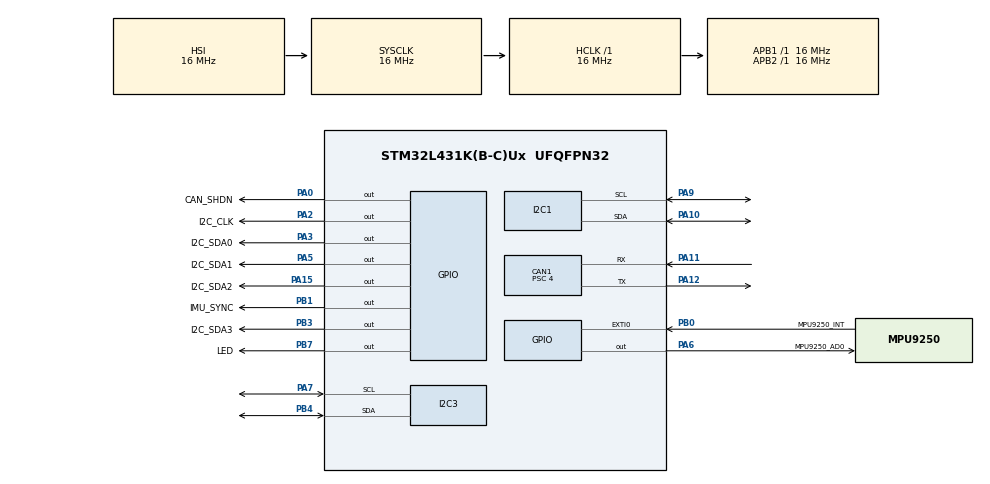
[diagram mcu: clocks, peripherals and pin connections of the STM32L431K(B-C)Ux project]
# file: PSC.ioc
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CAN1.ABOM=ENABLE
CAN1.AWUM=ENABLE
CAN1.BS1=CAN_BS1_2TQ
CAN1.CalculateTimeQuantum=250.0
CAN1.Prescaler=4
Dma.I2C1_RX.0.Direction=DMA_PERIPH_TO_MEMORY
Dma.I2C1_RX.0.Instance=DMA1_Channel7
Dma.I2C1_RX.0.MemDataAlignment=DMA_MDATAALIGN_BYTE
Dma.I2C1_RX.0.MemInc=DMA_MINC_ENABLE
Dma.I2C1_RX.0.Mode=DMA_NORMAL
Dma.I2C1_RX.0.PeriphDataAlignment=DMA_PDATAALIGN_BYTE
Dma.I2C1_RX.0.PeriphInc=DMA_PINC_DISABLE
Dma.I2C1_RX.0.Priority=DMA_PRIORITY_LOW
Dma.I2C1_TX.1.Direction=DMA_MEMORY_TO_PERIPH
Dma.I2C1_TX.1.Instance=DMA1_Channel6
Dma.I2C1_TX.1.MemDataAlignment=DMA_MDATAALIGN_BYTE
Dma.I2C1_TX.1.MemInc=DMA_MINC_ENABLE
Dma.I2C1_TX.1.Mode=DMA_NORMAL
Dma.I2C1_TX.1.PeriphDataAlignment=DMA_PDATAALIGN_BYTE
Dma.I2C1_TX.1.PeriphInc=DMA_PINC_DISABLE
Dma.I2C1_TX.1.Priority=DMA_PRIORITY_LOW
Dma.I2C3_RX.2.Direction=DMA_PERIPH_TO_MEMORY
Dma.I2C3_RX.2.Instance=DMA1_Channel3
Dma.I2C3_RX.2.MemDataAlignment=DMA_MDATAALIGN_BYTE
Dma.I2C3_RX.2.MemInc=DMA_MINC_ENABLE
Dma.I2C3_RX.2.Mode=DMA_NORMAL
Dma.I2C3_RX.2.PeriphDataAlignment=DMA_PDATAALIGN_BYTE
Dma.I2C3_RX.2.PeriphInc=DMA_PINC_DISABLE
Dma.I2C3_RX.2.Priority=DMA_PRIORITY_LOW
Dma.I2C3_TX.3.Direction=DMA_MEMORY_TO_PERIPH
Dma.I2C3_TX.3.Instance=DMA1_Channel2
Dma.I2C3_TX.3.MemDataAlignment=DMA_MDATAALIGN_BYTE
Dma.I2C3_TX.3.MemInc=DMA_MINC_ENABLE
Dma.I2C3_TX.3.Mode=DMA_NORMAL
Dma.I2C3_TX.3.PeriphDataAlignment=DMA_PDATAALIGN_BYTE
Dma.I2C3_TX.3.PeriphInc=DMA_PINC_DISABLE
Dma.I2C3_TX.3.Priority=DMA_PRIORITY_LOW
Dma.Request0=I2C1_RX
Dma.Request1=I2C1_TX
Dma.Request2=I2C3_RX
Dma.Request3=I2C3_TX
I2C1.Timing=0x00303D5B
I2C3.Timing=0x00303D5B
Mcu.Family=STM32L4
Mcu.Name=STM32L431K(B-C)Ux
Mcu.Package=UFQFPN32
NVIC.CAN1_RX0_IRQn=true\:0\:0\:false\:false\:true\:true
NVIC.CAN1_RX1_IRQn=true\:0\:0\:false\:false\:true\:true
NVIC.CAN1_SCE_IRQn=true\:0\:0\:false\:false\:true\:true
NVIC.CAN1_TX_IRQn=true\:0\:0\:false\:false\:true\:true
NVIC.DMA1_Channel2_IRQn=true\:0\:0\:false\:false\:true\:false
NVIC.DMA1_Channel3_IRQn=true\:0\:0\:false\:false\:true\:false
NVIC.DMA1_Channel6_IRQn=true\:0\:0\:false\:false\:true\:false
NVIC.DMA1_Channel7_IRQn=true\:0\:0\:false\:false\:true\:false
NVIC.EXTI0_IRQn=true\:0\:0\:false\:false\:true\:true
NVIC.I2C1_ER_IRQn=true\:0\:0\:false\:false\:true\:true
NVIC.I2C1_EV_IRQn=true\:0\:0\:false\:false\:true\:true
NVIC.I2C3_ER_IRQn=true\:0\:0\:false\:false\:true\:true
NVIC.I2C3_EV_IRQn=true\:0\:0\:false\:false\:true\:true
NVIC.PriorityGroup=NVIC_PRIORITYGROUP_4
NVIC.TIM6_DAC_IRQn=true\:0\:0\:false\:false\:true\:true
NVIC.TIM7_IRQn=true\:0\:0\:false\:false\:true\:true
PA0.GPIO_Label=CAN_SHDN
PA0.Signal=GPIO_Output
PA10.Mode=I2C
PA10.Signal=I2C1_SDA
PA11.Mode=Master
PA11.Signal=CAN1_RX
PA12.Mode=Master
PA12.Signal=CAN1_TX
PA13\ (JTMS-SWDIO).Mode=Serial_Wire
PA13\ (JTMS-SWDIO).Signal=SYS_JTMS-SWDIO
PA14\ (JTCK-SWCLK).Mode=Serial_Wire
PA14\ (JTCK-SWCLK).Signal=SYS_JTCK-SWCLK
PA15\ (JTDI).GPIO_Label=I2C_SDA2
PA15\ (JTDI).Signal=GPIO_Output
PA2.GPIO_Label=I2C_CLK
PA2.Signal=GPIO_Output
PA3.GPIO_Label=I2C_SDA0
PA3.Signal=GPIO_Output
PA5.GPIO_Label=I2C_SDA1
PA5.Signal=GPIO_Output
PA6.GPIO_Label=MPU9250_AD0
PA6.GPIO_PuPd=GPIO_PULLDOWN
PA6.Signal=GPIO_Output
PA7.Mode=I2C
PA7.Signal=I2C3_SCL
PA9.Mode=I2C
PA9.Signal=I2C1_SCL
PB0.GPIO_Label=MPU9250_INT
PB0.Signal=GPXTI0
PB1.GPIO_Label=IMU_SYNC
PB1.GPIO_PuPd=GPIO_PULLUP
PB1.Signal=GPIO_Output
PB3\ (JTDO-TRACESWO).GPIO_Label=I2C_SDA3
PB3\ (JTDO-TRACESWO).Signal=GPIO_Output
PB4\ (NJTRST).Mode=I2C
PB4\ (NJTRST).Signal=I2C3_SDA
PB7.GPIO_Label=LED
PB7.PinState=GPIO_PIN_SET
PB7.Signal=GPIO_Output
ProjectManager.HeapSize=0x200
ProjectManager.StackSize=0x400
ProjectManager.TargetToolchain=MDK-ARM V5
RCC.ADCFreq_Value=128000000
RCC.AHBFreq_Value=16000000
RCC.APB1Freq_Value=16000000
RCC.APB1TimFreq_Value=16000000
RCC.APB2Freq_Value=16000000
RCC.APB2TimFreq_Value=16000000
RCC.CortexFreq_Value=16000000
RCC.HCLKFreq_Value=16000000
RCC.HSE_VALUE=8000000
RCC.HSI48_VALUE=48000000
RCC.HSI_VALUE=16000000
RCC.LSE_VALUE=32768
RCC.MSI_VALUE=4000000
RCC.PLLSAI1N=16
RCC.PLLSourceVirtual=RCC_PLLSOURCE_HSI
RCC.SYSCLKFreq_VALUE=16000000
RCC.SYSCLKSource=RCC_SYSCLKSOURCE_HSI
RCC.VCOOutputFreq_Value=128000000
TIM6.Period=1000
TIM6.Prescaler=16
TIM7.Period=100
TIM7.Prescaler=16000
VP_TIM6_VS_ClockSourceINT.Mode=Enable_Timer
VP_TIM7_VS_ClockSourceINT.Mode=Enable_Timer
board=custom

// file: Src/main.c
/* USER CODE BEGIN Header */
/**
  ******************************************************************************
  * @file           : main.c
  * @brief          : Main program body
  ******************************************************************************
  ** This notice applies to any and all portions of this file
  * that are not between comment pairs USER CODE BEGIN and
  * USER CODE END. Other portions of this file, whether
  * inserted by the user or by software development tools
  * are owned by their respective copyright owners.
  *
  * COPYRIGHT(c) 2019 STMicroelectronics
  *
  * Redistribution and use in source and binary forms, with or without modification,
  * are permitted provided that the following conditions are met:
  *   1. Redistributions of source code must retain the above copyright notice,
  *      this list of conditions and the following disclaimer.
  *   2. Redistributions in binary form must reproduce the above copyright notice,
  *      this list of conditions and the following disclaimer in the documentation
  *      and/or other materials provided with the distribution.
  *   3. Neither the name of STMicroelectronics nor the names of its contributors
  *      may be used to endorse or promote products derived from this software
  *      without specific prior written permission.
  *
  * THIS SOFTWARE IS PROVIDED BY THE COPYRIGHT HOLDERS AND CONTRIBUTORS "AS IS"
  * AND ANY EXPRESS OR IMPLIED WARRANTIES, INCLUDING, BUT NOT LIMITED TO, THE
  * IMPLIED WARRANTIES OF MERCHANTABILITY AND FITNESS FOR A PARTICULAR PURPOSE ARE
  * DISCLAIMED. IN NO EVENT SHALL THE COPYRIGHT HOLDER OR CONTRIBUTORS BE LIABLE
  * FOR ANY DIRECT, INDIRECT, INCIDENTAL, SPECIAL, EXEMPLARY, OR CONSEQUENTIAL
  * DAMAGES (INCLUDING, BUT NOT LIMITED TO, PROCUREMENT OF SUBSTITUTE GOODS OR
  * SERVICES; LOSS OF USE, DATA, OR PROFITS; OR BUSINESS INTERRUPTION) HOWEVER
  * CAUSED AND ON ANY THEORY OF LIABILITY, WHETHER IN CONTRACT, STRICT LIABILITY,
  * OR TORT (INCLUDING NEGLIGENCE OR OTHERWISE) ARISING IN ANY WAY OUT OF THE USE
  * OF THIS SOFTWARE, EVEN IF ADVISED OF THE POSSIBILITY OF SUCH DAMAGE.
  *
  ******************************************************************************
  */
/* USER CODE END Header */

#include "main.h"
#include "can.h"
#include "dma.h"
#include "i2c.h"
#include "tim.h"
#include "gpio.h"

/* USER CODE BEGIN Includes */
#include "define.h"
#include "global_var.h"
#include "can_utility.h"
#include "MPU9250.h"
#include "TLV493D.h"
#include "AD7147.h"
#include "AD7147RegMap.h"
#include "I2C_Multi_SDA.h"

/* USER CODE END Includes */

/* USER CODE BEGIN PTD */

typedef struct
{
  I2C_HandleTypeDef *hi2c;
  uint16_t DevAddress;
  uint8_t *pData;
  uint16_t Size;
  uint8_t Busy;
}I2C_STATUS;

I2C_STATUS I2C_TxStatus = {0};  // initialize all values to 0

typedef struct _t_skin {
    uint16_t triangle;
    uint8_t value[10];
} t_skin;

t_skin skin;

/* USER CODE END PTD */

/* USER CODE BEGIN PV */
char Firmware_vers = 0;
char Revision_vers = 0;
char Build_number  = 0;

uint8_t can_message = 0;

#define MODE_SKIN 0
int mode = MODE_SKIN ;

unsigned int channel=0;
extern unsigned int AD7147Registers[2][16][12]; // il primo campo rappresenta il numero dei canali
extern unsigned int CapOffset[2][16][12];       // il primo campo rappresenta il numero dei canali
extern error_cap err[16];
extern unsigned char AD7147_ADD[4];

extern triangle_cfg_t triangle_cfg_list[16];
unsigned char TEMP_COMPENSATION=1;              // if 1 means internal temperature drift compensation
unsigned int taxel[2][16][12];               // il primo campo rappresenta il numero dei canali
int16_t skin_value[2][16];                      // il primo campo rappresenta il numero dei canali
int TOUCH_THREASHOLD=(2450-140);
int SKIN_UPPER_THRESHOLD=2480;
int ERROR_COUNTER=0;

int8_t SKIN_STATE_2T=-1;    // bottom 2 triangles skin state
int8_t SKIN_STATE_10T=-1;   // upper 10 triangles skin state
int8_t SKIN_STATE=-1;
int8_t SKIN_OVER_THRESHOLD=0;
uint8_t WAVEFORM=1;

int16_t triangle[2][16] = {0};
int16_t triangle_old[2][16] = {0};

/* USER CODE END PV */

void SystemClock_Config(void);
/* USER CODE BEGIN PFP */

void CANBUS(void);
void TIMER_Init(void);
void I2C_TX(I2C_HandleTypeDef *hi2c, uint16_t DevAddress, uint8_t *pData, uint16_t Size);
void UpdateTouchMap(void);
void SkinRawData(void);
void FillMessages8bit(unsigned char Channel,unsigned char triangleN);

/* USER CODE END PFP */

int main(void)
{

  /* MCU Configuration--------------------------------------------------------*/

  /* Reset of all peripherals, Initializes the Flash interface and the Systick. */
  HAL_Init();

  /* Configure the system clock */
  SystemClock_Config();

  /* Initialize all configured peripherals */
  MX_GPIO_Init();
  MX_DMA_Init();
  MX_CAN1_Init();
  MX_I2C1_Init();
  MX_I2C3_Init();
  MX_TIM6_Init();
  MX_TIM7_Init();
  /* USER CODE BEGIN 2 */

  TIMER_Init();

  CAN_Config();
  MPU9250_AD0_0;
  MPU9250_Init();
  HAL_Delay(10);
  TLV493D_Init(U1);
  TLV493D_Init(U2);

  TrianglesInit(0);

  HAL_Delay(10);

  /* USER CODE END 2 */

  /* Infinite loop */
  /* USER CODE BEGIN WHILE */
  while (1)
  {
    MPU9250();
    HAL_Delay(2);

    TLV493D_ReadRegisters(U1);
    HAL_Delay(2);

    TLV493D_ReadRegisters(U2);
    HAL_Delay(2);

    CANBUS();

    ServiceAD7147Isr(0);        // read sensors AD7147 channel 0
    //UpdateTouchMap();
    //TouchMapHistoryCheck();
    //SkinRawData();
    HAL_Delay(500);

    /* USER CODE END WHILE */

  }
}

void SystemClock_Config(void)
{
  RCC_OscInitTypeDef RCC_OscInitStruct = {0};
  RCC_ClkInitTypeDef RCC_ClkInitStruct = {0};
  RCC_PeriphCLKInitTypeDef PeriphClkInit = {0};

  /**Initializes the CPU, AHB and APB busses clocks
  */
  RCC_OscInitStruct.OscillatorType = RCC_OSCILLATORTYPE_HSI;
  RCC_OscInitStruct.HSIState = RCC_HSI_ON;
  RCC_OscInitStruct.HSICalibrationValue = RCC_HSICALIBRATION_DEFAULT;
  RCC_OscInitStruct.PLL.PLLState = RCC_PLL_NONE;
  if (HAL_RCC_OscConfig(&RCC_OscInitStruct) != HAL_OK)
  {
    Error_Handler();
  }
  /**Initializes the CPU, AHB and APB busses clocks
  */
  RCC_ClkInitStruct.ClockType = RCC_CLOCKTYPE_HCLK|RCC_CLOCKTYPE_SYSCLK
                              |RCC_CLOCKTYPE_PCLK1|RCC_CLOCKTYPE_PCLK2;
  RCC_ClkInitStruct.SYSCLKSource = RCC_SYSCLKSOURCE_HSI;
  RCC_ClkInitStruct.AHBCLKDivider = RCC_SYSCLK_DIV1;
  RCC_ClkInitStruct.APB1CLKDivider = RCC_HCLK_DIV1;
  RCC_ClkInitStruct.APB2CLKDivider = RCC_HCLK_DIV1;

  if (HAL_RCC_ClockConfig(&RCC_ClkInitStruct, FLASH_LATENCY_0) != HAL_OK)
  {
    Error_Handler();
  }
  PeriphClkInit.PeriphClockSelection = RCC_PERIPHCLK_I2C1|RCC_PERIPHCLK_I2C3;
  PeriphClkInit.I2c1ClockSelection = RCC_I2C1CLKSOURCE_PCLK1;
  PeriphClkInit.I2c3ClockSelection = RCC_I2C3CLKSOURCE_PCLK1;
  if (HAL_RCCEx_PeriphCLKConfig(&PeriphClkInit) != HAL_OK)
  {
    Error_Handler();
  }
  /**Configure the main internal regulator output voltage
  */
  if (HAL_PWREx_ControlVoltageScaling(PWR_REGULATOR_VOLTAGE_SCALE1) != HAL_OK)
  {
    Error_Handler();
  }
}

/* USER CODE BEGIN 4 */

// -----------------------------------------------------------------------------------------------------------------------------
// CAN messages management
// -----------------------------------------------------------------------------------------------------------------------------
void CANBUS(void){

      can_message = 0;
      TxData[0] = 0xFF;               //
      TxData[1] = can_message;        //
      TxData[2] = Firmware_vers;      // Firmware version
      TxData[3] = Revision_vers;      // Revision version
      TxData[4] = Build_number;       // Build number
      TxData[5] = 0;
      TxData[6] = 0;
      TxData[7] = 0;
      if (HAL_CAN_AddTxMessage(&hcan1, &TxHeader, TxData, &TxMailbox) != HAL_OK){
        /* Transmission request Error */
        Error_Handler();
      }

      while(CAN_TxComplete == 0)  {}
      CAN_TxComplete=0;

      can_message = 1;
      TxData[0] = 0xFF;
      TxData[1] = can_message;
      TxData[2] = TLV493D_REG[U1].Bx>>8;
      TxData[3] = TLV493D_REG[U1].Bx;
      TxData[4] = TLV493D_REG[U1].By>>8;
      TxData[5] = TLV493D_REG[U1].By;
      TxData[6] = TLV493D_REG[U1].Bz>>8;
      TxData[7] = TLV493D_REG[U1].Bz;
      if (HAL_CAN_AddTxMessage(&hcan1, &TxHeader, TxData, &TxMailbox) != HAL_OK){
        /* Transmission request Error */
        Error_Handler();
      }

      while(CAN_TxComplete == 0)  {}
      CAN_TxComplete=0;

      can_message = 2;
      TxData[0] = 0xFF;
      TxData[1] = can_message;
      TxData[2] = TLV493D_REG[U1].Temp>>8;
      TxData[3] = TLV493D_REG[U1].Temp;
      TxData[4] = 0;
      TxData[5] = 0;
      TxData[6] = 0;
      TxData[7] = 0;
      if (HAL_CAN_AddTxMessage(&hcan1, &TxHeader, TxData, &TxMailbox) != HAL_OK){
        /* Transmission request Error */
        Error_Handler();
      }

      while(CAN_TxComplete == 0)  {}
      CAN_TxComplete=0;

      can_message = 3;
      TxData[0] = 0xFF;
      TxData[1] = can_message;
      TxData[2] = TLV493D_REG[U2].Bx>>8;
      TxData[3] = TLV493D_REG[U2].Bx;
      TxData[4] = TLV493D_REG[U2].By>>8;
      TxData[5] = TLV493D_REG[U2].By;
      TxData[6] = TLV493D_REG[U2].Bz>>8;
      TxData[7] = TLV493D_REG[U2].Bz;
      if (HAL_CAN_AddTxMessage(&hcan1, &TxHeader, TxData, &TxMailbox) != HAL_OK){
        /* Transmission request Error */
        Error_Handler();
      }

      while(CAN_TxComplete == 0)  {}
      CAN_TxComplete=0;

      can_message = 4;
      TxData[0] = 0xFF;
      TxData[1] = can_message;
      TxData[2] = TLV493D_REG[U2].Temp>>8;
      TxData[3] = TLV493D_REG[U2].Temp;
      TxData[4] = 0;
      TxData[5] = 0;
      TxData[6] = 0;
      TxData[7] = 0;
      if (HAL_CAN_AddTxMessage(&hcan1, &TxHeader, TxData, &TxMailbox) != HAL_OK){
        /* Transmission request Error */
        Error_Handler();
      }

      while(CAN_TxComplete == 0)  {}
      CAN_TxComplete=0;

      can_message = 5;
      TxData[0] = 0xff;
      TxData[1] = can_message;
      TxData[2] = *(MPU9250_SensorValue+0);
      TxData[3] = *(MPU9250_SensorValue+1);
      TxData[4] = *(MPU9250_SensorValue+2);
      TxData[5] = *(MPU9250_SensorValue+3);
      TxData[6] = *(MPU9250_SensorValue+4);
      TxData[7] = *(MPU9250_SensorValue+5);
      if (HAL_CAN_AddTxMessage(&hcan1, &TxHeader, TxData, &TxMailbox) != HAL_OK){
        /* Transmission request Error */
        Error_Handler();
      }

      while(CAN_TxComplete == 0)  {}
      CAN_TxComplete=0;

      for(int i=0; i<16; i++){                          // To send the most significative 8 bits of the raw data (16bits) of the all taxels
        for(int j=0; j<2; j++){
          TxData[0] = i;
          TxData[1] = j;
          TxData[2] = ((AD7147Registers[0][i][j*6+0]) >> 8) & 0xff;
          TxData[3] = ((AD7147Registers[0][i][j*6+1]) >> 8) & 0xff;
          TxData[4] = ((AD7147Registers[0][i][j*6+2]) >> 8) & 0xff;
          TxData[5] = ((AD7147Registers[0][i][j*6+3]) >> 8) & 0xff;
          TxData[6] = ((AD7147Registers[0][i][j*6+4]) >> 8) & 0xff;
          TxData[7] = ((AD7147Registers[0][i][j*6+5]) >> 8) & 0xff;
          if (HAL_CAN_AddTxMessage(&hcan1, &TxHeader, TxData, &TxMailbox) != HAL_OK){
            /* Transmission request Error */
            Error_Handler();
          }

          while(CAN_TxComplete == 0)  {}
          CAN_TxComplete=0;
        }
      }
      //
}

// -----------------------------------------------------------------------------------------------------------------------------
// I2C Callback
// -----------------------------------------------------------------------------------------------------------------------------
void HAL_I2C_MasterTxCpltCallback(I2C_HandleTypeDef *I2cHandle)
{
  if(I2cHandle->Instance==I2C1){
    if(I2C_TxStatus.DevAddress == MPU9250_I2C_ADDRESS){
      HAL_I2C_Master_Receive_DMA(&hi2c1, (uint16_t)MPU9250_I2C_ADDRESS, (uint8_t*)MPU9250_RxBuffer, sizeof(MPU9250_RxBuffer));
    }
    if(I2C_TxStatus.DevAddress == TLV493D_I2C_ADDRESS){
      HAL_I2C_Master_Receive_DMA(&hi2c1, (uint16_t)TLV493D_I2C_ADDRESS, (uint8_t*)TLV493D_RxBuffer[U1], sizeof(TLV493D_RxBuffer[U1]));
    }
    I2C_TxStatus.Busy = 0;
  }

  if(I2cHandle->Instance==I2C3){
    HAL_I2C_Master_Receive_DMA(&hi2c3, (uint16_t)TLV493D_I2C_ADDRESS, (uint8_t*)TLV493D_RxBuffer[U2], sizeof(TLV493D_RxBuffer[U2]));
  }
}

void HAL_I2C_MasterRxCpltCallback(I2C_HandleTypeDef *I2cHandle)
{
  if(I2cHandle->Instance==I2C1){
    if(I2C_TxStatus.DevAddress == MPU9250_I2C_ADDRESS){
      for(int i=0; i<MPU9250_RxBuffer_SIZE; i++){
        MPU9250_SensorValue[i] = MPU9250_RxBuffer[i];
      }
    }
    if(I2C_TxStatus.DevAddress == TLV493D_I2C_ADDRESS){
      for(int i=0; i<TLV493D_RxBuffer_SIZE; i++){
        TLV493D_RegisterValue[U1][i] = TLV493D_RxBuffer[U1][i];
      }
      TLV493D_RegisterMask(U1);
    }
    I2C_TxStatus.Busy = 0;
  }

  if(I2cHandle->Instance==I2C3){
    for(int i=0; i<TLV493D_RxBuffer_SIZE; i++){
      TLV493D_RegisterValue[U2][i] = TLV493D_RxBuffer[U2][i];
    }
    TLV493D_RegisterMask(U2);
  }
}

// -----------------------------------------------------------------------------------------------------------------------------
// I2C Bus busy function
// -----------------------------------------------------------------------------------------------------------------------------
void I2C_TX(I2C_HandleTypeDef *hi2c, uint16_t DevAddress, uint8_t *pData, uint16_t Size){

  //while(I2C_TxStatus.Busy == 1) {}
    I2C_TxStatus.Busy = 1;
    I2C_TxStatus.DevAddress = DevAddress;

    HAL_I2C_Master_Transmit_DMA(hi2c, DevAddress, pData, Size);
  //}
}

// -----------------------------------------------------------------------------------------------------------------------------
// Timers initialization
// -----------------------------------------------------------------------------------------------------------------------------
void TIMER_Init(void){
  HAL_TIM_Base_Start_IT(&htim6);
  HAL_TIM_Base_Start_IT(&htim7);
}

// -----------------------------------------------------------------------------------------------------------------------------
// Timers Callback
// -----------------------------------------------------------------------------------------------------------------------------
void HAL_TIM_PeriodElapsedCallback(TIM_HandleTypeDef *htim){
  if(htim->Instance==TIM6){         // timer

  }
  if(htim->Instance==TIM7){         // timer
    HAL_GPIO_TogglePin(LED_GPIO_Port, LED_Pin);
  }
}

// -----------------------------------------------------------------------------------------------------------------------------
// Update the Touch Map with last values
// -----------------------------------------------------------------------------------------------------------------------------
void UpdateTouchMap(void){
    int i,j;
    for (i=0;i<16;i++)          // patch 16 triangles
        {
            SKIN_OVER_THRESHOLD=0;  // reset del valore precedente
            triangle[0][i]=0;          // reset del valore precedente
            triangle[1][i]=0;          // reset del valore precedente
            FillMessages8bit(0,i);
            skin_value[0][i]=0;
            FillMessages8bit(1,i);
            skin_value[1][i]=0;

            for (j=0;j<12;j++)                      // sarebbero 10 perchи poi ce ne sono due che sono per la temperatura
            {
                if ((j==6) || (j==10))
                {
                    // nothing
                }
                else
                {
                    skin_value[0][i] += taxel[0][i][j];
                    skin_value[1][i] += taxel[1][i][j];
                    if ( (skin_value[0][i] > SKIN_UPPER_THRESHOLD) || (skin_value[1][i] > SKIN_UPPER_THRESHOLD) ) SKIN_OVER_THRESHOLD = 1; // taxel over threshold -> need calibration
                }
            }

            if (SKIN_STATE == i)        SKIN_STATE = -1;        // se lo stato era i, lo resetto
            if (SKIN_STATE_2T == i)     SKIN_STATE_2T = -1;     // se lo stato era i, lo resetto
            if (SKIN_STATE_10T == i)    SKIN_STATE_10T = -1;    // se lo stato era i, lo resetto

            if (mode == MODE_SKIN){             // in SKIN mode there are 2 different thresholds for triangle 5 and triangle 6
                if(i==5){
                    if (skin_value[0][i] < TOUCH_THREASHOLD+10)     // soft pressure
                    {
                        SKIN_STATE_2T=i;
                        triangle[0][i]=1;                           // fill the triangle array
                    }
                }
                if(i==6){
                    if (skin_value[0][i] < TOUCH_THREASHOLD-180)    // higher pressure
                    {
                        SKIN_STATE_2T=i;
                        triangle[0][i]=1;                           // fill the triangle array
                    }
                }
            }
            else{                               // in CMD mode there is only 1 threshold for all triangles
                if (skin_value[0][i] < TOUCH_THREASHOLD)            // event on "2 triangles" occurs
                {
                    SKIN_STATE_2T=i;
                    triangle[0][i]=1;                               // fill the triangle array
                }
            }

            if (skin_value[1][i] < TOUCH_THREASHOLD)                // event on "10 triangles" occurs
            {
                SKIN_STATE_10T=i;
                triangle[1][i]=1;                                   // fill the triangle array
            }
        }
}

// -----------------------------------------------------------------------------------------------------------------------------
// Skin overthreshold recognition and skin raw data sending
// -----------------------------------------------------------------------------------------------------------------------------
void SkinRawData(void){
    //t_skin skin;
    int i;

//    if (NO_TOUCH){
//        GESTURE_STATE=CMD_NO_EVENT;
//        if(SKIN_OVER_THRESHOLD){        // Calibration
//            TrianglesInit(0);
//            TrianglesInit(1);
//        }
//    }
//    else{

        //if( SKIN_VARIATION && ((CONTROL_LEFT && !CONTROL_RIGHT) || (!CONTROL_LEFT && CONTROL_RIGHT)) )
        //{
            for (i=0;i<16;i++)          // patch 16 triangles
            {
                if(triangle[1][i]){     // send only triangle over threshold
                    skin.triangle = i;
                    skin.value[0] = taxel[0][i][0];
                    skin.value[1] = taxel[0][i][1];
                    skin.value[2] = taxel[0][i][2];
                    skin.value[3] = taxel[0][i][3];
                    skin.value[4] = taxel[0][i][4];
                    skin.value[5] = taxel[0][i][5];
                    skin.value[6] = taxel[0][i][7];
                    skin.value[7] = taxel[0][i][8];
                    skin.value[8] = taxel[0][i][9];
                    skin.value[9] = taxel[0][i][11];
                    //rn4020SetSkin(&skin);       // send raw data
                }
            }
        //}
    //}
}

// -----------------------------------------------------------------------------------------------------------------------------
// Fill message 8 bit function
// -----------------------------------------------------------------------------------------------------------------------------
void FillMessages8bit(unsigned char Channel,unsigned char triangleN)
{
    int Tpad;
    int Tpad_base;
    unsigned int i;
    int drift=0;
    int value; //difference of the current measurement and the initial value (_pCapOffset)
    unsigned int txdata[12];
    int unconnected=0;
    unsigned int GAIN[12]={70,96,83,38,38,70, 0,45,77,164,0,77}; //this gains are moltiplied by 128 with respect to matlab
    int UP_LIMIT, BOT_LIMIT;

    UP_LIMIT=((int) (MAXVAL-NOLOAD)<<triangle_cfg_list[triangleN].shift);
    BOT_LIMIT=(int)(NOLOAD)<<triangle_cfg_list[triangleN].shift;

    Tpad_base=CapOffset[Channel][triangleN][(ADCRESULT_S6-ADCRESULT_S0)];
    Tpad=AD7147Registers[Channel][triangleN][(ADCRESULT_S6-ADCRESULT_S0)];

    err[triangleN].error=error_ok;
    err[triangleN].error_outofrange=0;
    unconnected=0;
    for (i=0;i<12;i++)
    {
        if (((CapOffset[Channel][triangleN][i]!=0) && ((AD7147Registers[Channel][triangleN][i]==0)))) //reading error
        {
            err[triangleN].error |=error_noack;

        }
        if (TEMP_COMPENSATION==1)
        {
			if (Tpad>Tpad_base)
			{
			drift=(((Tpad-Tpad_base)>>2)*GAIN[i])>>5;
			}
			else
			{
			drift=-((((Tpad_base-Tpad)>>2)*GAIN[i])>>5);
			}
        }
        else drift=0;

        value=(AD7147Registers[Channel][triangleN][i]-CapOffset[Channel][triangleN][i])-drift;

        if (value<=-UP_LIMIT)
        {
            txdata[i]=MAXVAL; // out of range, pressure too low
        }
        if (value>=BOT_LIMIT)
        {
            txdata[i]=MINVAL; // out of range, pressure too high
        }
        if ((value>-UP_LIMIT) && (value<BOT_LIMIT))
        {
                txdata[i]=NOLOAD-(value>>triangle_cfg_list[triangleN].shift);
        }
//check if the sensor is far from the limits -> taxel could be broken;
        if ((value<=-(UP_LIMIT<<1)) || (value>(BOT_LIMIT<<1)))
        {
            err[triangleN].error_outofrange |= 1<<i;
        }
        if (AD7147Registers[Channel][triangleN][i]==0xffff)
        {
            unconnected +=1; //if all the taxels has a 0xFFFF the triangle is most probably unconnected
        }
    }

    if (unconnected==12) //if all the taxels has a 0xFFFF the triangle is most probably unconnected
    {
        err[triangleN].error=error_notconnected;
        for (i=0;i<12;i++)
           {
           	taxel[Channel][triangleN][i]  = NOLOAD;
           }
    }
    else
    {
    	 for (i=0;i<12;i++)
    	    {
    	    	taxel[Channel][triangleN][i]  = txdata[i];
    	    }
    }

    if ((err[triangleN].error!=error_ok)  && (err[triangleN].error != error_notconnected))//do again the configuration since an error has occured
    {
		err[triangleN].error=error_ok;
		ERROR_COUNTER++;
    }
	if (ERROR_COUNTER==5)  //after x errors I do the CALIB of the board
	{
		triangle_cfg_list[triangleN].isToUpdate=1;
	//	board_MODE=CALIB;
		ERROR_COUNTER=0;
	//	return;
	}
}

/* USER CODE END 4 */

void Error_Handler(void)
{
}

/************************ (C) COPYRIGHT STMicroelectronics *****END OF FILE****/
